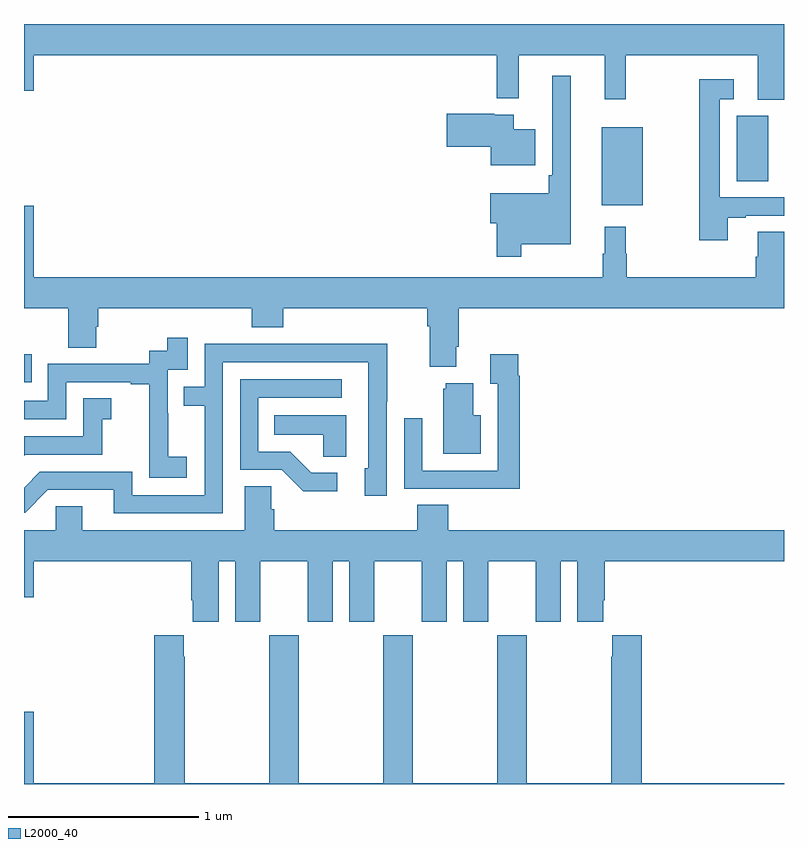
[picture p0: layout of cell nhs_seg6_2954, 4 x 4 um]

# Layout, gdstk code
import gdstk
lib = gdstk.Library(unit=1e-6, precision=1e-09)
def R(c, l, rs):  # rectangles x0, y0, x1, y1
    for r in rs: c.add(gdstk.rectangle(r[:2], r[2:], *l))
def P(c, l, *ps):  # polygons
    for p in ps: c.add(gdstk.Polygon(p, *l))
L2000_40 = (2000, 40)

nhs_seg6_2954 = lib.new_cell('nhs_seg6_2954')
R(nhs_seg6_2954, L2000_40, [(285,945.615,285.041,945.763), (288.041,946.547,288.256,946.957), (288.752,946.672,288.916,947.016)])
P(nhs_seg6_2954, L2000_40, [(289,947.5),(285,947.5),(285,947.148),(285.052,947.148),(285.052,947.336),(287.489,947.336),(287.489,947.108),(287.603,947.108),(287.603,947.336),(288.056,947.336),(288.056,947.103),(288.166,947.103),(288.166,947.336),(288.863,947.336),(288.863,947.101),(289,947.101)],
  [(287.617,946.34),(287.878,946.34),(287.878,947.227),(287.781,947.227),(287.781,946.705),(287.761,946.705),(287.761,946.609),(287.454,946.609),(287.454,946.451),(287.488,946.451),(287.488,946.275),(287.617,946.275)],
  [(288.703,946.479),(288.799,946.479),(288.799,946.491),(289,946.491),(289,946.587),(288.663,946.587),(288.663,947.103),(288.736,947.103),(288.736,947.209),(288.555,947.209),(288.555,946.362),(288.703,946.362)],
  [(287.692,946.945),(287.578,946.945),(287.578,947.023),(287.474,947.023),(287.474,947.028),(287.226,947.028),(287.226,946.853),(287.456,946.853),(287.456,946.757),(287.692,946.757)],
  [(287.275,945.802),(287.288,945.802),(287.288,946.004),(289,946.004),(289,946.406),(288.863,946.406),(288.863,946.274),(288.851,946.274),(288.851,946.168),(288.173,946.168),(288.173,946.292),(288.166,946.292),(288.166,946.432),(288.056,946.432),(288.056,946.292),(288.045,946.292),(288.045,946.168),(285.052,946.168),(285.052,946.543),(285,946.543),(285,946.004),(285.232,946.004),(285.232,945.796),(285.379,945.796),(285.379,945.906),(285.392,945.906),(285.392,946.004),(286.199,946.004),(286.199,945.905),(286.364,945.905),(286.364,946.004),(287.123,946.004),(287.123,945.908),(287.135,945.908),(287.135,945.695),(287.275,945.695)],
  [(285.856,945.223),(285.758,945.223),(285.758,945.452),(285.756,945.452),(285.756,945.681),(285.861,945.681),(285.861,945.85),(285.753,945.85),(285.753,945.78),(285.66,945.78),(285.66,945.711),(285.126,945.711),(285.126,945.516),(285,945.516),(285,945.42),(285.222,945.42),(285.222,945.615),(285.563,945.615),(285.563,945.603),(285.659,945.603),(285.659,945.319),(285.658,945.319),(285.658,945.113),(285.856,945.113)],
  [(286.047,945.72),(286.812,945.72),(286.812,945.162),(286.793,945.162),(286.793,945.018),(286.908,945.018),(286.908,945.511),(286.911,945.511),(286.911,945.818),(286.447,945.818),(286.447,945.816),(285.951,945.816),(285.951,945.591),(285.841,945.591),(285.841,945.49),(285.951,945.49),(285.951,945.021),(285.57,945.021),(285.57,945.144),(285.084,945.144),(285,945.06),(285,944.928),(285.006,944.928),(285.126,945.048),(285.473,945.048),(285.473,944.925),(286.047,944.925)],
  [(287.609,945.65),(287.602,945.65),(287.602,945.763),(287.453,945.763),(287.453,945.607),(287.493,945.607),(287.493,945.15),(287.097,945.15),(287.097,945.424),(287.001,945.424),(287.001,945.054),(287.317,945.054),(287.317,945.053),(287.609,945.053)],
  [(286.648,945.138),(286.513,945.138),(286.402,945.249),(286.233,945.249),(286.233,945.534),(286.672,945.534),(286.672,945.63),(286.137,945.63),(286.137,945.153),(286.356,945.153),(286.469,945.041),(286.648,945.041)],
  [(287.404,945.442),(287.365,945.442),(287.365,945.61),(287.219,945.61),(287.219,945.579),(287.207,945.579),(287.207,945.239),(287.404,945.239)],
  [(285.007,945.234),(285.411,945.234),(285.411,945.419),(285.46,945.419),(285.46,945.529),(285.312,945.529),(285.312,945.33),(285,945.33),(285,945.227)],
  [(286.696,945.442),(286.318,945.442),(286.318,945.338),(286.575,945.338),(286.575,945.223),(286.696,945.223)],
  [(285.307,944.963),(285.168,944.963),(285.168,944.836),(285,944.836),(285,944.484),(285.052,944.484),(285.052,944.672),(285.881,944.672),(285.881,944.467),(285.887,944.467),(285.887,944.355),(286.024,944.355),(286.024,944.672),(286.112,944.672),(286.112,944.355),(286.243,944.355),(286.243,944.672),(286.493,944.672),(286.493,944.355),(286.624,944.355),(286.624,944.672),(286.712,944.672),(286.712,944.355),(286.843,944.355),(286.843,944.672),(287.093,944.672),(287.093,944.355),(287.224,944.355),(287.224,944.672),(287.312,944.672),(287.312,944.355),(287.443,944.355),(287.443,944.672),(287.693,944.672),(287.693,944.355),(287.824,944.355),(287.824,944.672),(287.912,944.672),(287.912,944.355),(288.049,944.355),(288.049,944.467),(288.056,944.467),(288.056,944.672),(289,944.672),(289,944.836),(287.234,944.836),(287.234,944.969),(287.069,944.969),(287.069,944.836),(286.316,944.836),(286.316,944.945),(286.302,944.945),(286.302,945.068),(286.163,945.068),(286.163,944.836),(285.307,944.836)],
  [(289,943.504),(288.251,943.504),(288.251,944.284),(288.095,944.284),(288.095,944.171),(288.091,944.171),(288.091,943.504),(287.646,943.504),(287.646,944.284),(287.491,944.284),(287.491,943.504),(287.046,943.504),(287.046,944.284),(286.891,944.284),(286.891,943.504),(286.446,943.504),(286.446,944.284),(286.291,944.284),(286.291,943.504),(285.846,943.504),(285.846,944.171),(285.841,944.171),(285.841,944.284),(285.686,944.284),(285.686,943.504),(285.052,943.504),(285.052,943.879),(285,943.879),(285,943.5),(289,943.5)])

lib.write_gds('nhs_seg6_2954.gds')
